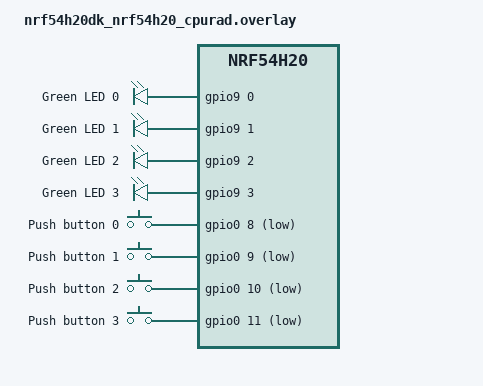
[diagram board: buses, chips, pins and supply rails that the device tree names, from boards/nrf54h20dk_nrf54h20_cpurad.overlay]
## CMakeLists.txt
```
#
# Copyright (c) 2021 Nordic Semiconductor
#
# SPDX-License-Identifier: LicenseRef-Nordic-5-Clause
#

cmake_minimum_required(VERSION 3.20.0)

list(APPEND EXTRA_ZEPHYR_MODULES ${CMAKE_CURRENT_SOURCE_DIR}/modules/app_rpc)
list(APPEND SYSCALL_INCLUDE_DIRS ${CMAKE_CURRENT_SOURCE_DIR}/modules/app_rpc/zephyr)

find_package(Zephyr REQUIRED HINTS $ENV{ZEPHYR_BASE})
project(phy_tt LANGUAGES NONE)

target_include_directories(app PRIVATE
    include
    include/internal
    include/internal/ctrl
    include/internal/rf)

target_sources(app PRIVATE
    src/main.c
    src/comm_proc.c
    src/rf_proc.c
    src/ptt_conf.c
    src/periph_proc.c
    src/timer_proc.c
    src/ctrl/ptt_ctrl.c
    src/ctrl/ptt_events.c
    src/ctrl/ptt_mode_manager.c
    src/ctrl/ptt_parser.c
    src/ctrl/ptt_proto.c
    src/ctrl/ptt_rf_proc.c
    src/ctrl/ptt_timers.c
    src/ctrl/ptt_uart_proc.c
    src/ctrl/ptt_zb_perf_cmd_mode_ota.c
    src/ctrl/ptt_zb_perf_cmd_mode_response.c
    src/ctrl/ptt_zb_perf_cmd_mode_uart.c
    src/ctrl/ptt_zb_perf_cmd_mode.c
    src/ctrl/ptt_zb_perf_dut_mode.c
    src/rf/ptt_rf.c)
```

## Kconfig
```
#
# Copyright (c) 2021 Nordic Semiconductor
#
# SPDX-License-Identifier: LicenseRef-Nordic-5-Clause
#

source "Kconfig.zephyr"

menu "PHY Test Tool configuration"

choice
	prompt "Device Mode"
	default PTT_BOTH
	help
	  Select the device mode

config PTT_DUT_MODE
	bool "Configure device as a DUT"
	help
	  DUT (Device Under Test) - serial communication is not initialized

config PTT_CMD_MODE
	bool "Configure device as a CMD"
	help
	  CMD - serial communication is available with 115200 8N1 settings

config PTT_BOTH
	bool "Supports both CMD and DUT modes"
	help
	  Device can be switched between modes using "custom changemode 0/1" command.

endchoice

config PTT_POWER
	int "Transmit Power (dBm)"
	default 0
	range -20 8

config PTT_CHANNEL_MASK
	hex "Channel page and channel number mask"
	default 0x00000800

config PTT_SW_VERSION
	int "Software Version"
	default 1
	range 0 255

config PTT_HW_VERSION
	int "Hardware Version"
	default 1
	range 0 255

config PTT_ANTENNA_DIVERSITY
	depends on !SOC_SERIES_NRF53X
	depends on NRFX_GPIOTE
	bool "Enable Antenna Diversity [EXPERIMENTAL]"
	select EXPERIMENTAL

if PTT_ANTENNA_DIVERSITY

choice
	prompt "Antenna Mode"
	default PTT_ANT_MODE_AUTO
	help
	  Select the antenna diversity mode

config PTT_ANT_MODE_AUTO
	bool "Automatic"

config PTT_ANT_MODE_MANUAL
	bool "Manual"

endchoice

config PTT_ANTENNA_NUMBER
	int "Antenna Number"
	range 0 1
	default 0

config PTT_ANT_PIN
	int "Antenna Selection Pin"
	default 20
	help
	  Choose which GPIO Pin is responsible for antenna selection

config PTT_ANT_TOGGLE_TIME
	int "Antenna Toggle Time"
	default 40
	help
	  Time in microseconds between antenna switches in Auto Mode

endif #PTT_ANTENNA_DIVERSITY

config PTT_CLK_OUT
	bool "Enable external clock signal generator"
	default y
	depends on NRFX_GPIOTE
	help
	  Output clock signal to an external pin

config PTT_POWER_MGMT
	bool "Enable power management commands"
	default y
	depends on NRFX_POWER
	help
	  Enable power management commands.

config PTT_CACHE_MGMT
	bool "Enable cache management commands"
	default y
	help
	  Enable cache management commands.

config PTT_RF_INIT_PRIORITY
	int "PTT RF init priority"
	default 50
	help
	  PTT RF module init priority

endmenu
```

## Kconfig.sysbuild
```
#
# Copyright (c) 2024 Nordic Semiconductor
#
# SPDX-License-Identifier: LicenseRef-Nordic-5-Clause
#

choice APPCORE
	default APPCORE_REMOTE_SHELL if SOC_NRF5340_CPUNET || SOC_NRF54H20_CPURAD

endchoice

source "share/sysbuild/Kconfig"
```

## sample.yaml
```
sample:
  description: IEEE 802.15.4 PHY Test Tool sample
  name: IEEE 802.15.4 PHY Test Tool
tests:
  sample.peripheral.802154_phy_test:
    sysbuild: true
    build_only: true
    integration_platforms:
      - nrf52833dk/nrf52833
      - nrf52840dk/nrf52840
      - nrf21540dk/nrf52840
      - nrf5340dk/nrf5340/cpunet
      - nrf54l15dk/nrf54l15/cpuapp
      - nrf54lm20pdk/nrf54lm20a/cpuapp
    platform_allow:
      - nrf52833dk/nrf52833
      - nrf52840dk/nrf52840
      - nrf21540dk/nrf52840
      - nrf5340dk/nrf5340/cpunet
      - nrf54l15dk/nrf54l15/cpuapp
      - nrf54lm20pdk/nrf54lm20a/cpuapp
      - nrf54lm20pdk@0.2.0.csp/nrf54lm20a/cpuapp
    tags:
      - ci_build
      - ci_rs_build
      - ci_rs_weekly
      - sysbuild
      - ci_samples_peripheral_802154
  sample.peripheral.802154_phy_test.ant_div_mode_auto:
    sysbuild: true
    build_only: true
    integration_platforms:
      - nrf21540dk/nrf52840
    platform_allow: nrf21540dk/nrf52840
    tags:
      - ci_build
      - ci_rs_build
      - ci_rs_weekly
      - sysbuild
      - ci_samples_peripheral_802154
    extra_args:
      - CONFIG_PTT_ANTENNA_DIVERSITY=y
      - CONFIG_PTT_ANT_MODE_AUTO=y
  sample.peripheral.802154_phy_test.ant_div_mode_manual:
    sysbuild: true
    build_only: true
    integration_platforms:
      - nrf21540dk/nrf52840
    platform_allow: nrf21540dk/nrf52840
    tags:
      - ci_build
      - ci_rs_build
      - ci_rs_weekly
      - ci_rs_integration
      - sysbuild
      - ci_samples_peripheral_802154
    extra_args:
      - CONFIG_PTT_ANTENNA_DIVERSITY=y
      - CONFIG_PTT_ANT_MODE_MANUAL=y
```

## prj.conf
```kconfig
CONFIG_REBOOT=y

# Enabling assert
CONFIG_ASSERT=y

# Logger configuration
CONFIG_LOG=y
CONFIG_LOG_DEFAULT_LEVEL=3
CONFIG_USE_SEGGER_RTT=y
CONFIG_LOG_BACKEND_RTT=y
CONFIG_LOG_BACKEND_UART=n

# Enable temperature sensor
CONFIG_NRFX_TEMP=y

# Use XOSHIRO PRNG
CONFIG_XOSHIRO_RANDOM_GENERATOR=y

# Enabling radio driver
CONFIG_NRF_802154_RADIO_DRIVER=y

# Enable ring buffers
CONFIG_RING_BUFFER=y

# Additional radio driver configurations
CONFIG_NRF_802154_CARRIER_FUNCTIONS=y
CONFIG_NRF_802154_ENCRYPTION=n

# Shell configuration
CONFIG_SHELL=y

CONFIG_SHELL_VT100_COLORS=n
CONFIG_DK_LIBRARY=y

CONFIG_SYSTEM_WORKQUEUE_STACK_SIZE=2048
```

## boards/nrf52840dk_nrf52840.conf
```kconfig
#
# Copyright (c) 2023 Nordic Semiconductor
#
# SPDX-License-Identifier: LicenseRef-Nordic-5-Clause
#

CONFIG_SHELL_PROMPT_UART=">"

# nrfx drivers configuration:
CONFIG_NRFX_POWER=y  # enable DC/DC support
CONFIG_NRFX_RNG=y  # enable RNG
CONFIG_NRFX_TIMER2=y  # enable TIMER2

# Allow sharing the RTC between IEEE 802.15.4 and Zephyr
CONFIG_NRF_RTC_TIMER_USER_CHAN_COUNT=3

# Set temperature sensor update period in ms
CONFIG_NRF_802154_TEMPERATURE_UPDATE_PERIOD=10000
```

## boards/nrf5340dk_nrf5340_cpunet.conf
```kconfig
#
# Copyright (c) 2023 Nordic Semiconductor
#
# SPDX-License-Identifier: LicenseRef-Nordic-5-Clause
#

CONFIG_CONSOLE=n
CONFIG_SERIAL=n
CONFIG_UART_CONSOLE=n

CONFIG_SHELL_PROMPT_IPC=">"
CONFIG_SHELL_IPC=y
CONFIG_SHELL_LOG_BACKEND=y
CONFIG_SHELL_BACKEND_SERIAL=n

CONFIG_MBOX=y
CONFIG_IPC_SERVICE=y
CONFIG_IPC_SERVICE_BACKEND_RPMSG=y
CONFIG_SHELL_IPC_BACKEND_RX_RING_BUFFER_SIZE=1024

CONFIG_HEAP_MEM_POOL_SIZE=4096

# Enable application specific RPC operations
CONFIG_APP_RPC=y

CONFIG_NRF_RTC_TIMER_USER_CHAN_COUNT=2

# nrfx drivers configuration:
CONFIG_NRFX_POWER=y  # enable DC/DC support
CONFIG_NRFX_RNG=y  # enable RNG
CONFIG_NRFX_TIMER2=y  # enable TIMER2

# Set temperature sensor update period in ms
CONFIG_NRF_802154_TEMPERATURE_UPDATE_PERIOD=10000
```

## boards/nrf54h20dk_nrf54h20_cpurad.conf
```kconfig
#
# Copyright (c) 2024 Nordic Semiconductor
#
# SPDX-License-Identifier: LicenseRef-Nordic-5-Clause
#

CONFIG_SHELL_PROMPT_UART=">"

# currently unsupported for nRF54H20
CONFIG_PTT_CACHE_MGMT=n
CONFIG_PTT_CLK_OUT=n

CONFIG_SHELL_PROMPT_IPC=">"
CONFIG_SHELL_IPC=y
CONFIG_SHELL_LOG_BACKEND=y
CONFIG_SHELL_BACKEND_SERIAL=n

CONFIG_MBOX=y
CONFIG_IPC_SERVICE=y
CONFIG_SHELL_IPC_BACKEND_RX_RING_BUFFER_SIZE=1024

CONFIG_HEAP_MEM_POOL_SIZE=4096

# Enable application specific RPC operations
CONFIG_APP_RPC=y
```

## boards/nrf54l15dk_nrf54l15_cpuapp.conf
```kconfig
#
# Copyright (c) 2024 Nordic Semiconductor
#
# SPDX-License-Identifier: LicenseRef-Nordic-5-Clause
#

CONFIG_SHELL_PROMPT_UART=">"

# currently unsupported for nRF54L15
CONFIG_PTT_CACHE_MGMT=n

# nrfx drivers configuration:
CONFIG_NRFX_TIMER20=y  # enable TIMER2
# enable DPPIC
CONFIG_NRFX_GPPI=y

# Set temperature sensor update period in ms
CONFIG_NRF_802154_TEMPERATURE_UPDATE_PERIOD=10000
```

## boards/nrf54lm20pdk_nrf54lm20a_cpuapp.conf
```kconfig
#
# Copyright (c) 2025 Nordic Semiconductor
#
# SPDX-License-Identifier: LicenseRef-Nordic-5-Clause
#

CONFIG_SHELL_PROMPT_UART=">"

# currently unsupported for nRF54LM20
CONFIG_PTT_CACHE_MGMT=n
# nrfx drivers configuration:
CONFIG_NRFX_TIMER20=y  # enable TIMER2
# enable DPPIC
CONFIG_NRFX_GPPI=y

# Set temperature sensor update period in ms
CONFIG_NRF_802154_TEMPERATURE_UPDATE_PERIOD=10000
```

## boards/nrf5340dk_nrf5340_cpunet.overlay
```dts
/*
 * Copyright (c) 2023 Nordic Semiconductor ASA
 *
 * SPDX-License-Identifier: LicenseRef-Nordic-5-Clause
 */

/ {
	chosen {
		zephyr,shell-ipc = &ipc0;
	};
};
```

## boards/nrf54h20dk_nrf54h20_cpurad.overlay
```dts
/*
 * Copyright (c) 2024 Nordic Semiconductor ASA
 *
 * SPDX-License-Identifier: LicenseRef-Nordic-5-Clause
 */

/ {
	leds {
		compatible = "gpio-leds";
		led0: led_0 {
			gpios = <&gpio9 0 GPIO_ACTIVE_HIGH>;
			label = "Green LED 0";
		};
		led1: led_1 {
			gpios = <&gpio9 1 GPIO_ACTIVE_HIGH>;
			label = "Green LED 1";
		};
		led2: led_2 {
			gpios = <&gpio9 2 GPIO_ACTIVE_HIGH>;
			label = "Green LED 2";
		};
		led3: led_3 {
			gpios = <&gpio9 3 GPIO_ACTIVE_HIGH>;
			label = "Green LED 3";
		};
	};

	buttons {
		compatible = "gpio-keys";
		button0: button_0 {
			gpios = <&gpio0 8 (GPIO_PULL_UP | GPIO_ACTIVE_LOW)>;
			label = "Push button 0";
		};
		button1: button_1 {
			gpios = <&gpio0 9 (GPIO_PULL_UP | GPIO_ACTIVE_LOW)>;
			label = "Push button 1";
		};
		button2: button_2 {
			gpios = <&gpio0 10 (GPIO_PULL_UP | GPIO_ACTIVE_LOW)>;
			label = "Push button 2";
		};
		button3: button_3 {
			gpios = <&gpio0 11 (GPIO_PULL_UP | GPIO_ACTIVE_LOW)>;
			label = "Push button 3";
		};
	};

	aliases {
		led0 = &led0;
		led1 = &led1;
		led2 = &led2;
		led3 = &led3;
		sw0 = &button0;
		sw1 = &button1;
		sw2 = &button2;
		sw3 = &button3;
	};

	chosen {
		zephyr,shell-ipc = &ipc0;
	};
};

&gpio9 {
	status = "okay";
};

&gpio0 {
	status = "okay";
};

&gpiote130 {
	status = "okay";
};

&uart135 {
	status = "disabled";
};
```

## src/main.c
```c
/*
 * Copyright (c) 2021-2023 Nordic Semiconductor ASA
 *
 * SPDX-License-Identifier: LicenseRef-Nordic-5-Clause
 */
#include <zephyr/init.h>
#include <zephyr/kernel.h>
#include <zephyr/sys/reboot.h>

#include "rf_proc.h"
#include "timer_proc.h"
#include "comm_proc.h"
#include "periph_proc.h"
#if defined(CONFIG_APP_RPC)
#include "app_rpc.h"
#endif

#include <zephyr/logging/log.h>
	LOG_MODULE_REGISTER(phy_tt);

/* size of stack area used by each thread */
#define RF_THREAD_STACKSIZE (1024u)
#define COMM_THREAD_STACKSIZE (1024u)

/* scheduling priority used by each thread */
#define RF_THREAD_PRIORITY (7u)
#define COMM_THREAD_PRIORITY (7u)

void ptt_do_reset_ext(void)
{
#if defined(CONFIG_APP_RPC)
	app_system_reboot();
#else
	sys_reboot(SYS_REBOOT_COLD);
#endif
}

static int rf_setup(void)
{
	LOG_INF("RF setup started");


	rf_init();

	return 0;
}

static int setup(void)
{
	LOG_INF("Setup started");


	periph_init();

	comm_init();

	/* initialize ptt library */
	ptt_init(launch_ptt_process_timer, ptt_get_max_time());

	return 0;
}

SYS_INIT(rf_setup, POST_KERNEL, CONFIG_PTT_RF_INIT_PRIORITY);

SYS_INIT(setup, APPLICATION, CONFIG_APPLICATION_INIT_PRIORITY);

K_THREAD_DEFINE(rf_id, RF_THREAD_STACKSIZE, rf_thread, NULL, NULL, NULL, RF_THREAD_PRIORITY, 0, 0);
```

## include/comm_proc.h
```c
/*
 * Copyright (c) 2021 Nordic Semiconductor ASA
 *
 * SPDX-License-Identifier: LicenseRef-Nordic-5-Clause
 */
/* Purpose: communication interfaces */

#ifndef COMM_PROC_H__
#define COMM_PROC_H__

#include <stdint.h>
#include <zephyr/kernel.h>

/**< Maximum expected size of received packet */
#define COMM_MAX_TEXT_DATA_SIZE (320u)

void comm_init(void);

#endif /* COMM_PROC_H__ */
```

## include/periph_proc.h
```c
/*
 * Copyright (c) 2021 Nordic Semiconductor ASA
 *
 * SPDX-License-Identifier: LicenseRef-Nordic-5-Clause
 */
/* Purpose: Periphery interfaces */

#ifndef PERIPH_PROC_H__
#define PERIPH_PROC_H__

#include <stdint.h>

#include "ptt.h"

/** @brief Initialize various periphery
 *
 *  @param none
 *
 *  @return none
 *
 */
void periph_init(void);

#endif /* PERIPH_PROC_H__ */
```

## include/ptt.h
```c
/*
 * Copyright (c) 2021 Nordic Semiconductor ASA
 *
 * SPDX-License-Identifier: LicenseRef-Nordic-5-Clause
 */
/* Purpose: PHY Test Tool library interface for external usage */

#ifndef PTT_H__
#define PTT_H__

#include "ptt_types.h"

/** @brief PTT library initialization
 *
 *  @param call_me_cb - callback to be called from the library to schedule a timer
 *  @param max_time - maximum supported time by a current timer implementation
 *
 *  @return none
 */
void ptt_init(ptt_call_me_cb_t call_me_cb, ptt_time_t max_time);

/** @brief PTT library uninitialization
 *
 *  @param none
 *
 *  @return none
 */
void ptt_uninit(void);

/** @brief Notify the library about expired timeout
 *
 *  @param current_time - current time in milliseconds
 *
 *  @return none
 */
void ptt_process(ptt_time_t current_time);

/* external provided function to get current time */
extern ptt_time_t ptt_get_current_time(void);
/* external provided function to get mode mask from application */
extern bool ptt_get_mode_mask_ext(uint32_t *mode);
/* external provided function to get channel_mask from application */
extern bool ptt_get_channel_mask_ext(uint32_t *channel_mask);
/* external provided function to get power from application */
extern bool ptt_get_power_ext(int8_t *power);
/* external provided function to get antenna from application */
extern bool ptt_get_antenna_ext(uint8_t *antenna);
/* external provided function to get SW version from application */
extern bool ptt_get_sw_version_ext(uint8_t *sw_version);
/* external provided function to get HW version from application */
extern bool ptt_get_hw_version_ext(uint8_t *hw_version);
/* external provided function to get ANT mode from application */
extern bool ptt_get_ant_mode_ext(uint8_t *ant_mode);
/* external provided function to get ANT number from application */
extern bool ptt_get_ant_num_ext(uint8_t *ant_num);
/* external provided function to reset board */
extern void ptt_do_reset_ext(void);
/** @brief external provided function to get random value
 *
 *  must be able to get at least @ref PTT_CUSTOM_LTX_PAYLOAD_MAX_SIZE bytes every
 *  (@ref PTT_L_STREAM_INTERVAL_MIN + @ref PTT_L_STREAM_PULSE_MIN) ms
 */
extern uint32_t ptt_random_get_ext(void);
/* external provided function to control HFLCK output */
extern bool ptt_clk_out_ext(uint8_t pin, bool mode);
/* external provided function to set GPIO pin value */
extern bool ptt_set_gpio_ext(uint8_t pin, uint8_t value);
/* external provided function to get GPIO pin value */
extern bool ptt_get_gpio_ext(uint8_t pin, uint8_t *value);
/* external provided function to disable/enable DC/DC mode */
extern void ptt_set_dcdc_ext(bool enable);
/* external provided function to get current DC/DC mode */
extern bool ptt_get_dcdc_ext(void);
/* external provided function to disable/enable ICACHE */
extern void ptt_set_icache_ext(bool enable);
/* external provided function to get current state of ICACHE */
extern bool ptt_get_icache_ext(void);
/* external provided function to get SoC temperature */
extern bool ptt_get_temp_ext(int32_t *temp);
/* external provided function to set LED indicating received packet state to ON */
extern void ptt_ctrl_led_indication_on_ext(void);
/* external provided function to set LED indicating received packet state to OFF*/
extern void ptt_ctrl_led_indication_off_ext(void);

#endif /* PTT_H__ */
```

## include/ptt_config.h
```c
/*
 * Copyright (c) 2021 Nordic Semiconductor ASA
 *
 * SPDX-License-Identifier: LicenseRef-Nordic-5-Clause
 */
/* Purpose: settings intended for external configuration */

#ifndef PTT_CONFIG_H__
#define PTT_CONFIG_H__

#define PTT_EVENT_POOL_N 8u
#define PTT_EVENT_DATA_SIZE 320u /* necessary to keep aligned to 4 */
#define PTT_EVENT_CTX_SIZE 32u /* necessary to keep aligned to 4 */

#define PTT_TIMER_POOL_N 8u

/* will be rounded up to multiplication of 8 symbols (128 us) */
#define PTT_ED_TIME_US 128u

/* timeout for the measurement process to finish */
#define PTT_RSSI_TIME_MS 1u

/* if this value returned by RSSI measurement procedure, error will be printed */
#define PTT_RSSI_ERROR_VALUE INT8_MAX

/* time to wait for packet for `lgetlqi` command */
#define PTT_LQI_DELAY_MS 5000u

#define PTT_CUSTOM_LTX_PAYLOAD_MAX_SIZE 125u
#define PTT_CUSTOM_LTX_DEFAULT_REPEATS 1
#define PTT_CUSTOM_LTX_DEFAULT_TIMEOUT_MS 0
#define PTT_CUSTOM_LTX_TIMEOUT_MAX_VALUE INT16_MAX

#define PTT_L_CARRIER_PULSE_MIN 1 /* must fit in int32_t */
#define PTT_L_CARRIER_PULSE_MAX INT16_MAX /* must fit in int32_t */
#define PTT_L_CARRIER_INTERVAL_MIN 0 /* must fit in int32_t */
#define PTT_L_CARRIER_INTERVAL_MAX INT16_MAX /* must fit in int32_t */
#define PTT_L_CARRIER_DURATION_MIN 0 /* must fit in int32_t */
#define PTT_L_CARRIER_DURATION_MAX INT16_MAX /* must fit in int32_t */

#define PTT_L_STREAM_PULSE_MIN 1 /* must fit in int32_t */
#define PTT_L_STREAM_PULSE_MAX INT16_MAX /* must fit in int32_t */
#define PTT_L_STREAM_INTERVAL_MIN 0 /* must fit in int32_t */
#define PTT_L_STREAM_INTERVAL_MAX INT16_MAX /* must fit in int32_t */
#define PTT_L_STREAM_DURATION_MIN 0 /* must fit in int32_t */
#define PTT_L_STREAM_DURATION_MAX INT16_MAX /* must fit in int32_t */

#define PTT_UART_PROMPT_STR ">"

#define PTT_LED_INDICATION_BLINK_TIMEOUT_MS 200

#endif /* PTT_CONFIG_H__ */
```

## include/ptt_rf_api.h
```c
/*
 * Copyright (c) 2021 Nordic Semiconductor ASA
 *
 * SPDX-License-Identifier: LicenseRef-Nordic-5-Clause
 */
/* Purpose: radio module interface intended for external usage */

#ifndef PTT_RF_API_H__
#define PTT_RF_API_H__

#include <stdint.h>

#include "ptt_types.h"

/** @brief Provides library RF module with a received packet
 *
 *  @param pkt - pointer to a packet data
 *  @param len - length of a received data
 *  @param rssi - RSSI
 *  @param lqi - LQI
 *
 *  @return none
 */
void ptt_rf_push_packet(const uint8_t *pkt, ptt_pkt_len_t len, int8_t rssi, uint8_t lqi);

/** @brief Provides library RF module with "Transmission started" event
 *
 *  @param none
 *
 *  @return none
 */
void ptt_rf_tx_started(void);

/** @brief Provides library RF module with "Transmission finished" event
 *
 *  @param none
 *
 *  @return none
 */
void ptt_rf_tx_finished(void);

/** @brief Provides library RF module with "Transmission failed" event
 *
 *  @param tx_error - reason of transmission fail
 *
 *  @return none
 */
void ptt_rf_tx_failed(ptt_rf_tx_error_t tx_error);

/** @brief Provides library RF module with "Reception failed" event
 *
 *  @param rx_error - reason of reception fail
 *
 *  @return none
 */
void ptt_rf_rx_failed(ptt_rf_rx_error_t rx_error);

/** @brief Provides library RF module with "CCA done" and a result
 *
 *  @param result - result of CCA procedure
 *
 *  @return none
 */
void ptt_rf_cca_done(bool result);

/** @brief Provides library RF module with "CCA failed"
 *
 *  @param none
 *
 *  @return none
 */
void ptt_rf_cca_failed(void);

/** @brief Provides library RF module with "ED detected" and a result
 *
 *  @param result - result of ED procedure
 *
 *  @return none
 */
void ptt_rf_ed_detected(ptt_ed_t result);

/** @brief Provides library RF module with "ED failed"
 *
 *  @param none
 *
 *  @return none
 */
void ptt_rf_ed_failed(void);

/* external provided function to set channel on current radio */
extern void ptt_rf_set_channel_ext(uint8_t channel);
/* external provided function to set power on current radio */
extern void ptt_rf_set_power_ext(int8_t power);
/* external provided function to get current power from current radio */
extern int8_t ptt_rf_get_power_ext(void);
/* external provided function to set promiscuous mode on current radio */
extern void ptt_rf_promiscuous_set_ext(bool value);
/* external provided function to start receive on current radio */
extern bool ptt_rf_receive_ext(void);
/* external provided function to put current radio on sleep */
extern bool ptt_rf_sleep_ext(void);
/* external provided function to start sending continuous carrier on current radio */
extern bool ptt_rf_continuous_carrier_ext(void);
/* external provided function to start sending modulated carrier on current radio */
extern bool ptt_rf_modulated_stream_ext(const uint8_t *pkt, ptt_pkt_len_t len);
/* external provided function to send a packet on current radio */
extern bool ptt_rf_send_packet_ext(const uint8_t *pkt, ptt_pkt_len_t len, bool cca);
/* external provided function to verify if the channel is clear */
extern bool ptt_rf_cca_ext(uint8_t mode);
/* external provided function to detects the maximum energy for a given time */
extern bool ptt_rf_ed_ext(uint32_t time_us);
/* external provided function to begin the RSSI measurement */
extern bool ptt_rf_rssi_measure_begin_ext(void);
/* external provided function to get the result of the last RSSI measurement */
extern ptt_rssi_t ptt_rf_rssi_last_get_ext(void);
/* external provided function to set PAN ID used by the device */
extern void ptt_rf_set_pan_id_ext(const uint8_t *pan_id);
/* external provided function to set extended address of the device */
extern void ptt_rf_set_extended_address_ext(const uint8_t *extended_address);
/* external provided function to set short address of the device */
extern void ptt_rf_set_short_address_ext(const uint8_t *short_address);
/* external provided function to set antenna on current radio */
extern void ptt_rf_set_antenna_ext(uint8_t antenna);
/* external provided function to set TX antenna on current radio */
extern void ptt_rf_set_tx_antenna_ext(uint8_t antenna);
/* external provided function to set RX antenna on current radio */
extern void ptt_rf_set_rx_antenna_ext(uint8_t antenna);
/* external provided function to get current rx antenna from current radio */
extern uint8_t ptt_rf_get_rx_antenna_ext(void);
/* external provided function to get current tx antenna from current radio */
extern uint8_t ptt_rf_get_tx_antenna_ext(void);
/* external provided function to get last best rx antenna from current radio */
extern uint8_t ptt_rf_get_lat_rx_best_antenna_ext(void);

#endif /* PTT_RF_API_H__ */
```

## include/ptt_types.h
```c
/*
 * Copyright (c) 2021 Nordic Semiconductor ASA
 *
 * SPDX-License-Identifier: LicenseRef-Nordic-5-Clause
 */
/* Purpose: PHY Test Tool types */

#ifndef PTT_TYPES_H__
#define PTT_TYPES_H__

#include <stdbool.h>
#include <stdint.h>

typedef uint16_t ptt_pkt_len_t;

typedef int32_t (*ptt_uart_send_cb)(const uint8_t *pkt, ptt_pkt_len_t len, bool add_crlf);

typedef uint32_t ptt_time_t;
typedef void (*ptt_call_me_cb_t)(ptt_time_t timeout);

typedef uint16_t ptt_ed_t;
typedef int8_t ptt_rssi_t;

typedef uint8_t ptt_rf_rx_error_t;

#define PTT_RF_RX_ERROR_NONE 0x00 /**< there is no error */
#define PTT_RF_RX_ERROR_INVALID_FCS 0x01 /**< received a frame with an invalid checksum */
#define PTT_RF_RX_ERROR_OPERATION_FAILED 0x02 /**< reception failed */

typedef uint8_t ptt_rf_tx_error_t;

#define PTT_RF_TX_ERROR_NONE 0x00 /**< there is no error */
#define PTT_RF_TX_ERROR_INVALID_ACK_FCS 0x01 /**< received ACK frame is valid, but has wrong FCS */
#define PTT_RF_TX_ERROR_NO_ACK 0x02 /**< ACK was not received during the timeout period */
#define PTT_RF_TX_ERROR_OPERATION_FAILED 0x03 /**< transmission failed */

#endif /* PTT_TYPES_H__ */
```

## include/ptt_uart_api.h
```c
/*
 * Copyright (c) 2021 Nordic Semiconductor ASA
 *
 * SPDX-License-Identifier: LicenseRef-Nordic-5-Clause
 */
/* Purpose: UART interface intended for external usage */

#ifndef PTT_UART_API_H__
#define PTT_UART_API_H__

#include "ptt_types.h"

/** @brief Initialize library UART processing module
 *
 *  @param send_cb - callback provided by application to send packets via UART
 *
 *  @return none
 */
void ptt_uart_init(ptt_uart_send_cb send_cb);

/** @brief Uninitialize library UART processing module
 *
 *  @param none
 *
 *  @return none
 */
void ptt_uart_uninit(void);

/** @brief Push received packet to library for further processing
 *
 *  @param pkt - received packet
 *  @param len - length of the packet
 *
 *  @return none
 */
void ptt_uart_push_packet(const uint8_t *pkt, ptt_pkt_len_t len);

#endif /* PTT_UART_API_H__ */
```

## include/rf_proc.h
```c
/*
 * Copyright (c) 2021 Nordic Semiconductor ASA
 *
 * SPDX-License-Identifier: LicenseRef-Nordic-5-Clause
 */
/* Purpose: RF interfaces */

#ifndef RF_PROC_H__
#define RF_PROC_H__

#include <stdint.h>

#include "ptt_rf_api.h"

/**< Size of PHY header */
#define RF_PHR_SIZE (1u)

/**< Size of frame check sequence */
#define RF_FCS_SIZE (2u)

/**< Maximum size of PSDU */
#define RF_PSDU_MAX_SIZE (127u)

/**< Start of PSDU payload */
#define RF_PSDU_START (1u)

/** @brief NRF radio driver initialization
 *
 *  @param none
 *
 *  @return none
 */
void rf_init(void);

/** @brief NRF radio driver deinitialization
 *
 *  @param none
 *
 *  @return none
 */
void rf_uninit(void);

/** @brief Thread function for Radio handling
 *
 *  @param none
 *
 *  @return none
 *
 */
void rf_thread(void);

/**< element of received packets array */
struct rf_rx_pkt_s {
	uint8_t *rf_buf; /**< pointer to buffer inside radio driver with a received packet */
	uint8_t *data; /**< pointer to payload */
	ptt_pkt_len_t length; /**< size of payload of received packet */
	int8_t rssi; /**< RSSI */
	uint8_t lqi; /**< LQI */
};

#endif /* RF_PROC_H__ */
```

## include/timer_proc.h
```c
/*
 * Copyright (c) 2021 Nordic Semiconductor ASA
 *
 * SPDX-License-Identifier: LicenseRef-Nordic-5-Clause
 */
/* Purpose: timer interfaces */

#ifndef TIMER_PROC_H__
#define TIMER_PROC_H__

#include <stdint.h>

#include "ptt.h"

/** @brief Callback provided by application to be called from the library
 *         to schedule a timer with a given timeout
 *
 *  @param timeout - timeout in milliseconds
 *
 *  @return none
 */
void launch_ptt_process_timer(ptt_time_t timeout);

/** @brief Return maximum time supported by current timer implementation
 *
 *  @param none
 *
 *  @return ptt_time_t - maximum time in milliseconds
 */
ptt_time_t ptt_get_max_time(void);

#endif /* TIMER_PROC_H__ */
```

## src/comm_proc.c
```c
/*
 * Copyright (c) 2021 Nordic Semiconductor ASA
 *
 * SPDX-License-Identifier: LicenseRef-Nordic-5-Clause
 */
/* Purpose: Communication interface for library */

#include <stdint.h>
#include <zephyr/shell/shell.h>
#include <zephyr/logging/log.h>
#include "comm_proc.h"
#include "ptt_uart_api.h"

LOG_MODULE_REGISTER(comm);

static char cmd_buf[COMM_MAX_TEXT_DATA_SIZE];
static const struct shell *shell;

static int cmd_custom(const struct shell *shell_inst, size_t argc, char **argv)
{
	size_t max_append_len = 0;

	memset(cmd_buf, 0, sizeof(cmd_buf));

	for (int i = 0; i < argc; i++) {
		/* cmd_buf should contain space for the command and a NULL character.
		 * Hence we reduce 1 here to compute the max_append_len of the maximum allowed
		 * length of string that can be appended.
		 */
		max_append_len = COMM_MAX_TEXT_DATA_SIZE - strlen(cmd_buf) - 1;
		if (i < (argc - 1)) {
			/* For every command except the last one, we append a space character. So we
			 * need to ensure that there is space for that as well.
			 */
			max_append_len = max_append_len - 1;
		}
		if (COMM_MAX_TEXT_DATA_SIZE < (strlen(cmd_buf) + max_append_len)) {
			shell_error(shell_inst, "the command is too long");
			return 0;
		}
		strncat(cmd_buf, argv[i], max_append_len);

		if (i < (argc - 1)) {
			strcat(cmd_buf, " ");
		}
	}

	LOG_DBG("Assembled command: %s", cmd_buf);
	ptt_uart_push_packet((uint8_t *)cmd_buf, strlen(cmd_buf));

	return 0;
}
SHELL_CMD_REGISTER(custom, NULL, "PHY test tool custom commands", cmd_custom);

static int32_t comm_send_cb(const uint8_t *pkt, ptt_pkt_len_t len, bool add_crlf)
{
	/*
	 * add_crlf argument is used only by prompt print routine. It is used here as an
	 * indicator that a prompt is being printed. The prompt is deliberately not being printed.
	 */
	if (add_crlf) {
		shell_print(shell, "%s", pkt);
	}

	return len;
}

void comm_init(void)
{
	/* won't initialize UART if the device has DUT mode only */
	if (IS_ENABLED(CONFIG_PTT_DUT_MODE)) {
		LOG_INF("Device is in DUT mode only.");
		return;
	}

	size_t cnt = 0;

	STRUCT_SECTION_COUNT(shell, &cnt);

	/*
	 * The assumption is that this sample always uses only  a single shell backend.
	 * That is why it assumed, that the first available shell backend should be used
	 * for communication callback messages.
	 */
	if (cnt >= 1) {
		STRUCT_SECTION_GET(shell, 0, &shell);
	}

	ptt_uart_init(comm_send_cb);
}
```

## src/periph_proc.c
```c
/*
 * Copyright (c) 2021 Nordic Semiconductor ASA
 *
 * SPDX-License-Identifier: LicenseRef-Nordic-5-Clause
 */
/* Purpose: Periphery configuring and processing */

#include <assert.h>
#include <stdint.h>

#include <zephyr/random/random.h>

#include "periph_proc.h"

#include <nrfx_timer.h>
#include <nrfx.h>
#include <hal/nrf_gpio.h>
#include <platform/nrf_802154_temperature.h>

#include <zephyr/devicetree.h>
#include <zephyr/drivers/gpio.h>

#include <dk_buttons_and_leds.h>

#if IS_ENABLED(CONFIG_PTT_CLK_OUT)
#include <nrfx_gpiote.h>
#endif /* IS_ENABLED(CONFIG_PTT_CLK_OUT) */

#if defined(CONFIG_PTT_CACHE_MGMT)
#include <nrfx_nvmc.h>
#endif

#if defined(CONFIG_PTT_POWER_MGMT)
#include <nrfx_power.h>
#endif

#if IS_ENABLED(CONFIG_PTT_CLK_OUT)
#include <helpers/nrfx_gppi.h>
#endif /* IS_ENABLED(CONFIG_PTT_CLK_OUT) */

#include <zephyr/logging/log.h>
LOG_MODULE_REGISTER(periph);

#if IS_ENABLED(CONFIG_PTT_CLK_OUT)
/* Timer instance used for HFCLK output */
#if defined(NRF52_SERIES) || defined(NRF53_SERIES)
#define PTT_CLK_TIMER 2
#elif defined(NRF54L_SERIES)
#define PTT_CLK_TIMER 20
#endif

static nrfx_timer_t clk_timer = NRFX_TIMER_INSTANCE(PTT_CLK_TIMER);

#define GPIOTE_NODE(gpio_node) DT_PHANDLE(gpio_node, gpiote_instance)
#define GPIOTE_INST_AND_COMMA(gpio_node) \
	[DT_PROP(gpio_node, port)] = \
		NRFX_GPIOTE_INSTANCE(DT_PROP(GPIOTE_NODE(gpio_node), instance)),

#define COND_GPIOTE_INST_AND_COMMA(gpio_node) \
	COND_CODE_1(DT_NODE_HAS_PROP(gpio_node, gpiote_instance), \
		(GPIOTE_INST_AND_COMMA(gpio_node)), \
		())

static const nrfx_gpiote_t gpiote_inst[GPIO_COUNT] = {
	DT_FOREACH_STATUS_OKAY(nordic_nrf_gpio, COND_GPIOTE_INST_AND_COMMA)
};

#define NRF_GPIOTE_FOR_GPIO(idx)  &gpiote_inst[idx]
#define NRF_GPIOTE_FOR_PSEL(psel) &gpiote_inst[psel >> 5]

static inline bool gpiote_is_valid(const nrfx_gpiote_t *gpiote)
{
	return gpiote->p_reg != NULL;
}
#endif /* IS_ENABLED(CONFIG_PTT_CLK_OUT) */

#define CLOCK_NODE DT_INST(0, nordic_nrf_clock)

static const struct device *gpio_port0_dev = DEVICE_DT_GET(DT_NODELABEL(gpio0));

/* Check if the system has GPIO port 1 */
#if DT_NODE_HAS_STATUS(DT_NODELABEL(gpio1), okay)
static const struct device *gpio_port1_dev = DEVICE_DT_GET(DT_NODELABEL(gpio1));
#endif

#if IS_ENABLED(CONFIG_PTT_CLK_OUT)
uint8_t ppi_channel;
uint8_t task_channel;
#endif /* IS_ENABLED(CONFIG_PTT_CLK_OUT) */

#if IS_ENABLED(CONFIG_PTT_CLK_OUT)
static void clk_timer_handler(nrf_timer_event_t event_type, void *context)
{
	/* do nothing */
}
#endif

void periph_init(void)
{
	int ret;

#if IS_ENABLED(CONFIG_PTT_CLK_OUT)
	nrfx_err_t err_code;

	uint32_t base_frequency = NRF_TIMER_BASE_FREQUENCY_GET(clk_timer.p_reg);
	nrfx_timer_config_t clk_timer_cfg = NRFX_TIMER_DEFAULT_CONFIG(base_frequency);

	err_code = nrfx_timer_init(&clk_timer, &clk_timer_cfg, clk_timer_handler);
	NRFX_ASSERT(err_code);

	for (int i = 0; i < GPIO_COUNT; ++i) {
		const nrfx_gpiote_t *gpiote = NRF_GPIOTE_FOR_GPIO(i);

		if (!gpiote_is_valid(gpiote)) {
			continue;
		}

		if (!nrfx_gpiote_init_check(gpiote)) {
			err_code = nrfx_gpiote_init(gpiote, 0);
			NRFX_ASSERT(err_code);
		}
	}
#endif

	ret = dk_leds_init();
	assert(ret == 0);

#if DT_NODE_HAS_STATUS(DT_NODELABEL(gpio0), okay)
	assert(device_is_ready(gpio_port0_dev));
#endif

#if DT_NODE_HAS_STATUS(DT_NODELABEL(gpio1), okay)
	assert(device_is_ready(gpio_port1_dev));
#endif
}

uint32_t ptt_random_get_ext(void)
{
	return sys_rand32_get();
}

bool ptt_clk_out_ext(uint8_t pin, bool mode)
{
#if IS_ENABLED(CONFIG_PTT_CLK_OUT)
	uint32_t compare_evt_addr;
	nrfx_err_t err;
	const nrfx_gpiote_t *gpiote = NRF_GPIOTE_FOR_PSEL(pin);

	if (!nrf_gpio_pin_present_check(pin) || !gpiote_is_valid(gpiote)) {
		return false;
	}

	if (mode) {
		nrfx_timer_extended_compare(&clk_timer, (nrf_timer_cc_channel_t)0, 1,
					    NRF_TIMER_SHORT_COMPARE0_CLEAR_MASK, false);

		err = nrfx_gpiote_channel_alloc(gpiote, &task_channel);
		if (err != NRFX_SUCCESS) {
			LOG_ERR("nrfx_gpiote_channel_alloc error: %08x", err);
			return false;
		}

		nrfx_gpiote_output_config_t config = NRFX_GPIOTE_DEFAULT_OUTPUT_CONFIG;
		nrfx_gpiote_task_config_t const out_config = {
			.task_ch = task_channel,
			.polarity = NRF_GPIOTE_POLARITY_TOGGLE,
			.init_val = NRF_GPIOTE_INITIAL_VALUE_LOW
		};

		/* Initialize output pin. SET task will turn the LED on,
		 * CLR will turn it off and OUT will toggle it.
		 */
		err = nrfx_gpiote_output_configure(gpiote, pin, &config, &out_config);
		if (err != NRFX_SUCCESS) {
			LOG_ERR("nrfx_gpiote_output_configure error: %08x", err);
			return false;
		}

		compare_evt_addr =
			nrfx_timer_event_address_get(&clk_timer, NRF_TIMER_EVENT_COMPARE0);

		nrfx_gpiote_out_task_enable(gpiote, pin);

		/* Allocate a (D)PPI channel. */
		err = nrfx_gppi_channel_alloc(&ppi_channel);

		if (err != NRFX_SUCCESS) {
			LOG_ERR("(D)PPI channel allocation error: %08x", err);
			return false;
		}

		nrfx_gppi_channel_endpoints_setup(
			ppi_channel, compare_evt_addr,
			nrf_gpiote_task_address_get(gpiote->p_reg,
						    nrfx_gpiote_in_event_get(gpiote, pin)));

		/* Enable (D)PPI channel. */
		nrfx_gppi_channels_enable(BIT(ppi_channel));

		nrfx_timer_enable(&clk_timer);
	} else {
		nrfx_timer_disable(&clk_timer);
		nrfx_gpiote_out_task_disable(gpiote, pin);
		err = nrfx_gppi_channel_free(ppi_channel);

		if (err != NRFX_SUCCESS) {
			LOG_ERR("Failed to disable (D)PPI channel, error: %08x", err);
			return false;
		}
		nrfx_gpiote_pin_uninit(gpiote, pin);
		err = nrfx_gpiote_channel_free(gpiote, task_channel);

		if (err != NRFX_SUCCESS) {
			LOG_ERR("Failed to disable GPIOTE channel, error: %08x", err);
			return false;
		}
	}
#endif /* IS_ENABLED(CONFIG_PTT_CLK_OUT) */

	return true;
}

static const struct device *get_pin_port(uint32_t *pin)
{
	switch (nrf_gpio_pin_port_number_extract(pin)) {
#if DT_NODE_HAS_STATUS(DT_NODELABEL(gpio0), okay)
	case 0:
		return gpio_port0_dev;
#endif
#if DT_NODE_HAS_STATUS(DT_NODELABEL(gpio1), okay)
	case 1:
		return gpio_port1_dev;
#endif
	default:
		return NULL;
	}
}

bool ptt_set_gpio_ext(uint8_t pin, uint8_t value)
{
	int ret;
	const struct device *port;
	uint32_t pin_nr = pin;

	if (nrf_gpio_pin_present_check(pin_nr)) {
		port = get_pin_port(&pin_nr);
		if (port == NULL) {
			return false;
		}

		ret = gpio_pin_configure(port, pin_nr, GPIO_OUTPUT);

		if (ret == 0) {
			ret = gpio_pin_set(port, pin_nr, value);
			if (ret == 0) {
				return true;
			}
		}
	}

	return false;
}

bool ptt_get_gpio_ext(uint8_t pin, uint8_t *value)
{
	int ret;
	const struct device *port;
	uint32_t pin_nr = pin;

	if (nrf_gpio_pin_present_check(pin_nr)) {
		port = get_pin_port(&pin_nr);
		if (port == NULL) {
			return false;
		}

		ret = gpio_pin_configure(port, pin_nr, GPIO_INPUT);

		if (ret == 0) {
			*value = gpio_pin_get(port, pin_nr);
			return true;
		}
	}

	return false;
}

void ptt_set_dcdc_ext(bool enable)
{
#if IS_ENABLED(CONFIG_PTT_POWER_MGMT)
#if NRF_POWER_HAS_DCDCEN
	nrf_power_dcdcen_set(NRF_POWER, enable);
#endif

#if NRF_POWER_HAS_DCDCEN_VDDH
	nrf_power_dcdcen_vddh_set(NRF_POWER, enable);
#endif

#if !NRF_POWER_HAS_DCDCEN && !NRF_POWER_HAS_DCDCEN_VDDH
#pragma message "DC-DC related commands have no effect!"
#endif
#endif /* IS_ENABLED(CONFIG_PTT_POWER_MGMT) */
}

bool ptt_get_dcdc_ext(void)
{
#if NRF_POWER_HAS_DCDCEN && NRF_POWER_HAS_DCDCEN_VDDH
	return (nrf_power_dcdcen_get(NRF_POWER) || nrf_power_dcdcen_vddh_get(NRF_POWER));
#elif NRF_POWER_HAS_DCDCEN
	return nrf_power_dcdcen_get(NRF_POWER);
#elif NRF_POWER_HAS_DCDCEN_VDDH
	return nrf_power_dcdcen_vddh_get(NRF_POWER);
#else
	return false;
#endif
}

void ptt_set_icache_ext(bool enable)
{
#if defined(CONFIG_PTT_CACHE_MGMT)
	if (enable) {
		nrfx_nvmc_icache_enable();
	} else {
		nrfx_nvmc_icache_disable();
	}
#endif
}

bool ptt_get_icache_ext(void)
{
#if defined(CONFIG_PTT_CACHE_MGMT)
	return nrf_nvmc_icache_enable_check(NRF_NVMC);
#else
	return false;
#endif
}

bool ptt_get_temp_ext(int32_t *temp)
{
	if (temp == NULL) {
		return false;
	}

	*temp = nrf_802154_temperature_get();

	return true;
}

void ptt_ctrl_led_indication_on_ext(void)
{
	dk_set_led_on(DK_LED1);
}

void ptt_ctrl_led_indication_off_ext(void)
{
	dk_set_led_off(DK_LED1);
}
```

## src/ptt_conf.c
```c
/*
 * Copyright (c) 2021 Nordic Semiconductor ASA
 *
 * SPDX-License-Identifier: LicenseRef-Nordic-5-Clause
 */
/* Purpose: Production configuration routines */

#include <assert.h>
#include <stdint.h>
#include <stdbool.h>
#include "nrf_802154.h"

bool ptt_get_mode_mask_ext(uint32_t *mode_mask)
{
	assert(mode_mask != NULL);

#ifdef CONFIG_PTT_DUT_MODE
	*mode_mask = 0x00000001;
#elif CONFIG_PTT_CMD_MODE
	*mode_mask = 0x00000002;
#else
	*mode_mask = 0x00000003;
#endif
	return true;
}

bool ptt_get_channel_mask_ext(uint32_t *channel_mask)
{
	assert(channel_mask != NULL);

	*channel_mask = CONFIG_PTT_CHANNEL_MASK;
	return true;
}

bool ptt_get_power_ext(int8_t *power)
{
	assert(power != NULL);

	*power = CONFIG_PTT_POWER;
	return true;
}

bool ptt_get_antenna_ext(uint8_t *antenna)
{
	assert(antenna != NULL);

#if CONFIG_PTT_ANTENNA_DIVERSITY
	*antenna = CONFIG_PTT_ANTENNA_NUMBER;
	return true;
#else
	return false;
#endif
}

bool ptt_get_sw_version_ext(uint8_t *sw_version)
{
	assert(sw_version != NULL);

	*sw_version = CONFIG_PTT_SW_VERSION;
	return true;
}

bool ptt_get_hw_version_ext(uint8_t *hw_version)
{
	assert(hw_version != NULL);

	*hw_version = CONFIG_PTT_HW_VERSION;
	return true;
}

bool ptt_get_ant_mode_ext(uint8_t *ant_mode)
{
	assert(ant_mode != NULL);

#if CONFIG_PTT_ANTENNA_DIVERSITY
#if CONFIG_PTT_ANT_MODE_AUTO
	nrf_802154_antenna_diversity_rx_mode_set(NRF_802154_SL_ANT_DIV_MODE_AUTO);
	nrf_802154_antenna_diversity_tx_mode_set(NRF_802154_SL_ANT_DIV_MODE_AUTO);
#elif CONFIG_PTT_ANT_MODE_MANUAL
	nrf_802154_antenna_diversity_rx_mode_set(NRF_802154_SL_ANT_DIV_MODE_AUTO);
	nrf_802154_antenna_diversity_tx_mode_set(NRF_802154_SL_ANT_DIV_MODE_AUTO);

	nrf_802154_antenna_diversity_rx_mode_set(NRF_802154_SL_ANT_DIV_MODE_MANUAL);
	nrf_802154_antenna_diversity_tx_mode_set(NRF_802154_SL_ANT_DIV_MODE_MANUAL);
#else
#endif
	return true;
#else
	return false;
#endif
}

bool ptt_get_ant_num_ext(uint8_t *ant_num)
{
	assert(ant_num != NULL);

#if CONFIG_PTT_ANTENNA_DIVERSITY
	*ant_num = CONFIG_PTT_ANTENNA_NUMBER;
	return true;
#else
	return false;
#endif
}
```
